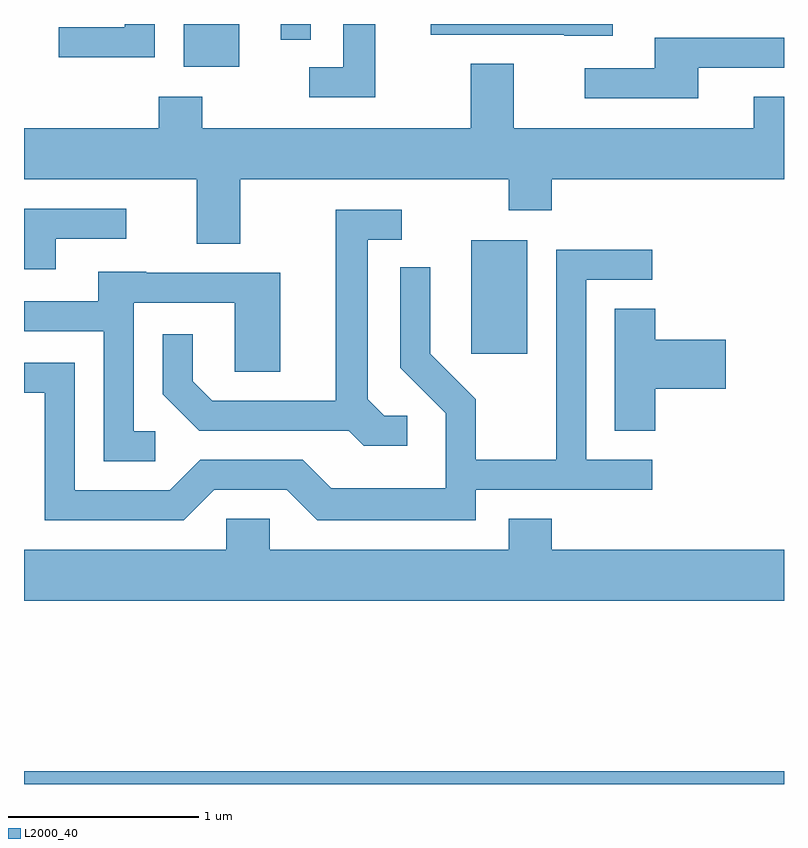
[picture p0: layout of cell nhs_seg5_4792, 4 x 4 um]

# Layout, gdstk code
import gdstk
lib = gdstk.Library(unit=1e-6, precision=1e-09)
def R(c, l, rs):  # rectangles x0, y0, x1, y1
    for r in rs: c.add(gdstk.rectangle(r[:2], r[2:], *l))
def P(c, l, *ps):  # polygons
    for p in ps: c.add(gdstk.Polygon(p, *l))
L2000_40 = (2000, 40)

nhs_seg5_4792 = lib.new_cell('nhs_seg5_4792')
R(nhs_seg5_4792, L2000_40, [(327.611,1438.072,331.611,1438.139), (329.966,1440.336,330.259,1440.934), (328.451,1441.846,328.744,1442.072), (328.961,1441.988,329.119,1442.072)])
P(nhs_seg5_4792, L2000_40, [(330.709,1442.072),(329.751,1442.072),(329.751,1442.016),(330.455,1442.016),(330.455,1442.011),(330.709,1442.011)],
  [(328.299,1442.072),(328.141,1442.072),(328.141,1442.054),(327.793,1442.054),(327.793,1441.896),(328.299,1441.896)],
  [(329.459,1442.072),(329.291,1442.072),(329.291,1441.844),(329.113,1441.844),(329.113,1441.686),(329.459,1441.686)],
  [(331.159,1441.841),(331.611,1441.841),(331.611,1441.999),(330.931,1441.999),(330.931,1441.839),(330.563,1441.839),(330.563,1441.681),(331.159,1441.681)],
  [(328.749,1441.256),(330.161,1441.256),(330.161,1441.091),(330.389,1441.091),(330.389,1441.256),(331.611,1441.256),(331.611,1441.689),(331.451,1441.689),(331.451,1441.524),(330.189,1441.524),(330.189,1441.864),(329.961,1441.864),(329.961,1441.524),(328.549,1441.524),(328.549,1441.689),(328.321,1441.689),(328.321,1441.524),(327.611,1441.524),(327.611,1441.256),(328.521,1441.256),(328.521,1440.916),(328.749,1440.916)],
  [(327.779,1440.941),(328.148,1440.941),(328.148,1441.099),(327.611,1441.099),(327.611,1440.781),(327.779,1440.781)],
  [(329.628,1440.009),(329.507,1440.009),(329.419,1440.097),(329.419,1440.936),(329.598,1440.936),(329.598,1441.094),(329.251,1441.094),(329.251,1440.089),(328.602,1440.089),(328.499,1440.192),(328.499,1440.438),(328.341,1440.438),(328.341,1440.124),(328.534,1439.931),(329.319,1439.931),(329.399,1439.851),(329.628,1439.851)],
  [(328.612,1439.621),(328.994,1439.621),(329.154,1439.461),(329.989,1439.461),(329.989,1439.621),(330.918,1439.621),(330.918,1439.779),(330.569,1439.779),(330.569,1440.726),(330.918,1440.726),(330.918,1440.884),(330.411,1440.884),(330.411,1439.779),(329.989,1439.779),(329.989,1440.097),(329.749,1440.337),(329.749,1440.793),(329.591,1440.793),(329.591,1440.264),(329.831,1440.024),(329.831,1439.629),(329.227,1439.629),(329.077,1439.779),(328.539,1439.779),(328.379,1439.619),(327.879,1439.619),(327.879,1440.289),(327.611,1440.289),(327.611,1440.131),(327.721,1440.131),(327.721,1439.461),(328.452,1439.461)],
  [(328.303,1439.929),(328.189,1439.929),(328.189,1440.606),(328.721,1440.606),(328.721,1440.241),(328.959,1440.241),(328.959,1440.764),(328.255,1440.764),(328.255,1440.769),(328.001,1440.769),(328.001,1440.614),(327.611,1440.614),(327.611,1440.456),(328.031,1440.456),(328.031,1439.771),(328.303,1439.771)],
  [(330.934,1440.151),(331.304,1440.151),(331.304,1440.409),(330.934,1440.409),(330.934,1440.574),(330.721,1440.574),(330.721,1439.931),(330.934,1439.931)],
  [(331.611,1439.304),(330.389,1439.304),(330.389,1439.469),(330.161,1439.469),(330.161,1439.304),(328.904,1439.304),(328.904,1439.469),(328.676,1439.469),(328.676,1439.304),(327.611,1439.304),(327.611,1439.036),(331.611,1439.036)])

lib.write_gds('nhs_seg5_4792.gds')
